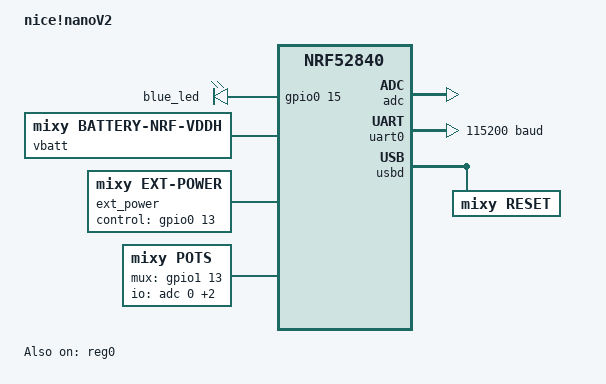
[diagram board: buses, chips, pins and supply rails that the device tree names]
/dts-v1/;
#include <nordic/nrf52840_qiaa.dtsi>
#include "nice_nano-pinctrl.dtsi"

/ {
    model = "nice!nanoV2";
    compatible = "nice,nano";
    chosen {
        zephyr,code-partition = &code_partition;
        zephyr,sram = &sram0;
        zephyr,flash = &flash0;
        zephyr,console = &uart0;
        mixy,battery = &vbatt;
    };

    leds {
        compatible = "gpio-leds";
        blue_led: led_0 {
            gpios = <&gpio0 15 GPIO_ACTIVE_HIGH>;
        };
    };

    vbatt: vbatt {
        compatible = "mixy,battery-nrf-vddh";
    };

	ext_power: ext-power {
		compatible = "mixy,ext-power";
		control-gpios = <&gpio0 13 GPIO_ACTIVE_HIGH>;
	};

    pots: pots {
        compatible = "mixy,pots";
        // thanks to the fantastic adc_sequence api, order of channels doesn't matter here
        io-channels = <&adc 0>, <&adc 5>, <&adc 7>;
        mux-gpios = <&gpio1 13 GPIO_ACTIVE_HIGH>;
    };
};


&reg0 {
	status = "okay";
};

&reg1 {
	regulator-initial-mode = <NRF5X_REG_MODE_DCDC>;
};

&adc {
    status = "okay";
};

&gpiote {
    status = "okay";
};

&gpio0 {
    status = "okay";
};

&gpio1 {
    status = "okay";
};

&i2c0 {
    compatible = "nordic,nrf-twi";
    pinctrl-0 = <&i2c0_default>;
    pinctrl-1 = <&i2c0_sleep>;
    pinctrl-names = "default", "sleep";
};

&spi1 {
    compatible = "nordic,nrf-spim";
    pinctrl-0 = <&spi1_default>;
    pinctrl-1 = <&spi1_sleep>;
    pinctrl-names = "default", "sleep";
};

&uart0 {
    compatible = "nordic,nrf-uarte";
    status = "okay";
    current-speed = <115200>;
    pinctrl-0 = <&uart0_default>;
    pinctrl-1 = <&uart0_sleep>;
    pinctrl-names = "default", "sleep";
};

zephyr_udc0: &usbd {
	compatible = "nordic,nrf-usbd";
	status = "okay";
    reset: reset {
			compatible = "mixy,reset";
			label = "reset";
	};
};


&flash0 {
    /* PROBABLY WRONG
     * For more information, see:
     * http://docs.zephyrproject.org/latest/devices/dts/flash_partitions.html
     */
    partitions {
        compatible = "fixed-partitions";
        #address-cells = <1>;
        #size-cells = <1>;

        sd_partition: partition@0 {
            reg = <0x00000000 0x00026000>;
        };
        code_partition: partition@26000 {
            reg = <0x00026000 0x000c6000>;
        };

        /*
         * The flash starting at 0x000ec000 and ending at
         * 0x000f3fff is reserved for use by the application.
         */

        /*
         * Storage partition will be used by FCB/LittleFS/NVS
         * if enabled.
         */
        storage_partition: partition@ec000 {
            reg = <0x000ec000 0x00008000>;
        };

        boot_partition: partition@f4000 {
            reg = <0x000f4000 0x0000c000>;
        };
    };
};
